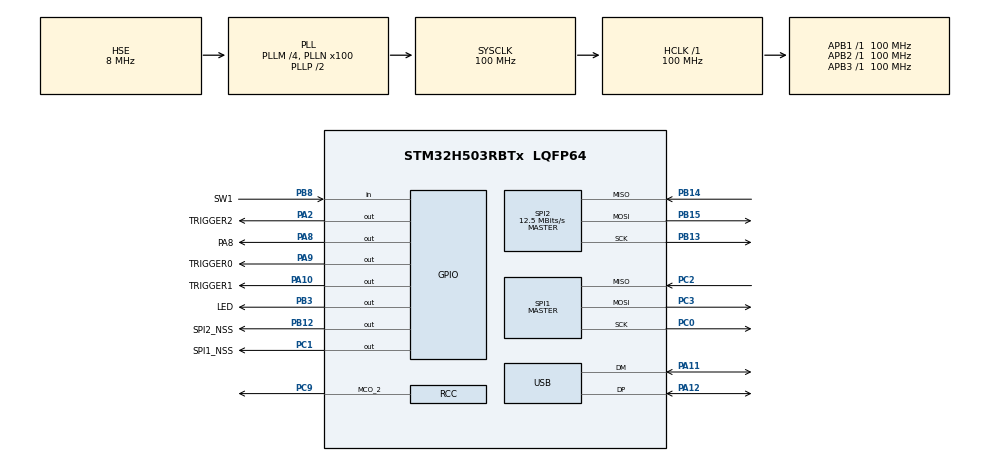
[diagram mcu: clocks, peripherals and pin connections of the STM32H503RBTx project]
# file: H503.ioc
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ADC1.Channel-1\#ChannelRegularConversion=ADC_CHANNEL_TEMPSENSOR
ADC1.ClockPrescaler=ADC_CLOCK_ASYNC_DIV8
ADC1.MonitoredBy-1\#ChannelRegularConversion=__NULL
ADC1.NbrOfConversionFlag=1
ADC1.OffsetNumber-1\#ChannelRegularConversion=ADC_OFFSET_NONE
ADC1.Rank-1\#ChannelRegularConversion=1
ADC1.SamplingTime-1\#ChannelRegularConversion=ADC_SAMPLETIME_247CYCLES_5
ADC1.master=1
BOOTPATH.BootPathName=LEGACY
BOOTPATH.UserSelectedBootPath=LEGACY
Mcu.Family=STM32H5
Mcu.Name=STM32H503RBTx
Mcu.Package=LQFP64
NVIC.PriorityGroup=NVIC_PRIORITYGROUP_4
NVIC.USB_DRD_FS_IRQn=true\:0\:0\:false\:false\:true\:true\:true\:true
PA10.GPIO_Label=TRIGGER1
PA10.Signal=GPIO_Output
PA11.Mode=Device
PA11.Signal=USB_DM
PA12.Mode=Device
PA12.Signal=USB_DP
PA13(JTMS/SWDIO).GPIO_Label=SWDIO
PA13(JTMS/SWDIO).Mode=Serial_Wire
PA13(JTMS/SWDIO).Signal=DEBUG_JTMS-SWDIO
PA14(JTCK/SWCLK).GPIO_Label=SWCLK
PA14(JTCK/SWCLK).Mode=Serial_Wire
PA14(JTCK/SWCLK).Signal=DEBUG_JTCK-SWCLK
PA2.GPIO_Label=TRIGGER2
PA2.Signal=GPIO_Output
PA8.GPIO_Label=PA8
PA8.Signal=GPIO_Output
PA9.GPIO_Label=TRIGGER0
PA9.Signal=GPIO_Output
PB12.GPIO_Label=SPI2_NSS
PB12.GPIO_Speed=GPIO_SPEED_FREQ_HIGH
PB12.PinState=GPIO_PIN_SET
PB12.Signal=GPIO_Output
PB13.Mode=Full_Duplex_Master
PB13.Signal=SPI2_SCK
PB14.Mode=Full_Duplex_Master
PB14.Signal=SPI2_MISO
PB15.Mode=Full_Duplex_Master
PB15.Signal=SPI2_MOSI
PB3(JTDO/TRACESWO).GPIO_Label=LED
PB3(JTDO/TRACESWO).Signal=GPIO_Output
PB8.GPIO_Label=SW1
PB8.Signal=GPIO_Input
PC0.Mode=Full_Duplex_Master
PC0.Signal=SPI1_SCK
PC1.GPIO_Label=SPI1_NSS
PC1.GPIO_Speed=GPIO_SPEED_FREQ_HIGH
PC1.PinState=GPIO_PIN_SET
PC1.Signal=GPIO_Output
PC2.Mode=Full_Duplex_Master
PC2.Signal=SPI1_MISO
PC3.Mode=Full_Duplex_Master
PC3.Signal=SPI1_MOSI
PC9.Mode=Clock-out-2
PC9.Signal=RCC_MCO_2
PH0-OSC_IN(PH0).Mode=HSE-External-Clock-Source
PH0-OSC_IN(PH0).Signal=RCC_OSC_IN
ProjectManager.HeapSize=0x400
ProjectManager.StackSize=0x200
ProjectManager.TargetToolchain=STM32CubeIDE
RCC.ADCCLockSelection=RCC_ADCDACCLKSOURCE_HSI
RCC.ADCFreq_Value=32000000
RCC.AHBFreq_Value=100000000
RCC.APB1Freq_Value=100000000
RCC.APB1TimFreq_Value=100000000
RCC.APB2Freq_Value=100000000
RCC.APB2TimFreq_Value=100000000
RCC.APB3Freq_Value=100000000
RCC.CSI_VALUE=4000000
RCC.CortexFreq_Value=100000000
RCC.DACLowPowerCLockSelection=RCC_DACLPCLKSOURCE_LSI
RCC.EPOD_VALUE=8000000
RCC.HCLKFreq_Value=100000000
RCC.HSE_VALUE=8000000
RCC.HSI48_VALUE=48000000
RCC.HSI_VALUE=64000000
RCC.LSE_VALUE=32768
RCC.LSIRC_VALUE=32000
RCC.PLL1Q=3
RCC.PLL2FRACN=0
RCC.PLL2M=8
RCC.PLL2N=250
RCC.PLL2P=10
RCC.PLL2Q=25
RCC.PLL2R=25
RCC.PLL2Source=RCC_PLL2_SOURCE_HSE
RCC.PLLFRACN=0
RCC.PLLM=4
RCC.PLLN=100
RCC.PLLSourceVirtual=RCC_PLL1_SOURCE_HSE
RCC.PWR_Regulator_Voltage_Scale=PWR_REGULATOR_VOLTAGE_SCALE0
RCC.RCC_MCO2Div=RCC_MCODIV_10
RCC.SPI2CLockSelection=RCC_SPI2CLKSOURCE_PLL2P
RCC.SYSCLKFreq_VALUE=100000000
RCC.SYSCLKSource=RCC_SYSCLKSOURCE_PLLCLK
RCC.USBFreq_Value=48000000
RCC.VCOOutputFreq_Value=200000000
SPI1.BaudRatePrescaler=SPI_BAUDRATEPRESCALER_4
SPI1.CLKPolarity=SPI_POLARITY_LOW
SPI1.CalculateBaudRate=16.666666 MBits/s
SPI1.DataSize=SPI_DATASIZE_8BIT
SPI1.Direction=SPI_DIRECTION_2LINES
SPI1.MasterKeepIOState=SPI_MASTER_KEEP_IO_STATE_ENABLE
SPI1.Mode=SPI_MODE_MASTER
SPI1.NSSPMode=SPI_NSS_PULSE_DISABLE
SPI1.VirtualType=VM_MASTER
SPI2.BaudRatePrescaler=SPI_BAUDRATEPRESCALER_2
SPI2.CalculateBaudRate=12.5 MBits/s
SPI2.DataSize=SPI_DATASIZE_8BIT
SPI2.Direction=SPI_DIRECTION_2LINES
SPI2.Mode=SPI_MODE_MASTER
SPI2.VirtualType=VM_MASTER
TIM2.Prescaler=99
USB.VirtualMode=Device_Only
VP_ADC1_TempSens_Input.Mode=IN-TempSens
VP_BOOTPATH_VS_BOOTPATH.Mode=BP_Activate
VP_CORTEX_M33_NS_VS_Hclk.Mode=Hclk_Mode
VP_ICACHE_VS_ICACHE.Mode=DefaultMode
VP_MEMORYMAP_VS_MEMORYMAP.Mode=CurAppReg
VP_PWR_VS_DBSignals.Mode=DisableDeadBatterySignals
VP_PWR_VS_LPOM.Mode=PowerOptimisation
VP_PWR_VS_SECSignals.Mode=Security/Privilege
VP_TIM2_VS_ClockSourceINT.Mode=Internal
board=custom

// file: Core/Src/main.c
/* USER CODE BEGIN Header */
/**
  ******************************************************************************
  * @file           : main.c
  * @brief          : Main program body
  ******************************************************************************
  * @attention
  *
  * Copyright (c) 2023 STMicroelectronics.
  * All rights reserved.
  *
  * This software is licensed under terms that can be found in the LICENSE file
  * in the root directory of this software component.
  * If no LICENSE file comes with this software, it is provided AS-IS.
  *
  ******************************************************************************
  */
/* USER CODE END Header */
#include "main.h"
#include "adc.h"
#include "icache.h"
#include "memorymap.h"
#include "spi.h"
#include "tim.h"
#include "usb.h"
#include "gpio.h"

/* USER CODE BEGIN Includes */
#include "usb_device.h"
#include "usbd_cdc_if.h"
/* USER CODE END Includes */

/* USER CODE BEGIN PV */

unsigned CPU_CLOCK_FREQUENCY = 100;

/* USER CODE END PV */

void SystemClock_Config(void);

int main(void)
{

  /* MCU Configuration--------------------------------------------------------*/

  /* Reset of all peripherals, Initializes the Flash interface and the Systick. */
  HAL_Init();

  /* Configure the system clock */
  SystemClock_Config();

  /* Initialize all configured peripherals */
  MX_GPIO_Init();
  MX_USB_PCD_Init();
  MX_ICACHE_Init();
  MX_ADC1_Init();
  MX_TIM2_Init();
  MX_SPI2_Init();
  MX_SPI1_Init();
  /* USER CODE BEGIN 2 */

  MX_USB_Device_Init();
  vcp_init();

  /* Perform ADC calibration */
  if (HAL_ADCEx_Calibration_Start(&hadc1, ADC_SINGLE_ENDED) != HAL_OK)
    {
    /* Calibration Error */
    Error_Handler();
    }

  /* start TIM2, whihc is used for the 1 usec clock */
  HAL_TIM_Base_Start(&htim2);

  extern void background();
  background();

  /* USER CODE END 2 */

  /* Infinite loop */
  while (1)
  {

  }
}

void SystemClock_Config(void)
{
  RCC_OscInitTypeDef RCC_OscInitStruct = {0};
  RCC_ClkInitTypeDef RCC_ClkInitStruct = {0};

  /** Configure the main internal regulator output voltage
  */
  __HAL_PWR_VOLTAGESCALING_CONFIG(PWR_REGULATOR_VOLTAGE_SCALE0);

  while(!__HAL_PWR_GET_FLAG(PWR_FLAG_VOSRDY)) {}

  /** Initializes the RCC Oscillators according to the specified parameters
  * in the RCC_OscInitTypeDef structure.
  */
  RCC_OscInitStruct.OscillatorType = RCC_OSCILLATORTYPE_HSI48|RCC_OSCILLATORTYPE_HSI
                              |RCC_OSCILLATORTYPE_HSE;
  RCC_OscInitStruct.HSEState = RCC_HSE_BYPASS;
  RCC_OscInitStruct.HSIState = RCC_HSI_ON;
  RCC_OscInitStruct.HSIDiv = RCC_HSI_DIV2;
  RCC_OscInitStruct.HSICalibrationValue = RCC_HSICALIBRATION_DEFAULT;
  RCC_OscInitStruct.HSI48State = RCC_HSI48_ON;
  RCC_OscInitStruct.PLL.PLLState = RCC_PLL_ON;
  RCC_OscInitStruct.PLL.PLLSource = RCC_PLL1_SOURCE_HSE;
  RCC_OscInitStruct.PLL.PLLM = 4;
  RCC_OscInitStruct.PLL.PLLN = 100;
  RCC_OscInitStruct.PLL.PLLP = 2;
  RCC_OscInitStruct.PLL.PLLQ = 3;
  RCC_OscInitStruct.PLL.PLLR = 2;
  RCC_OscInitStruct.PLL.PLLRGE = RCC_PLL1_VCIRANGE_1;
  RCC_OscInitStruct.PLL.PLLVCOSEL = RCC_PLL1_VCORANGE_WIDE;
  RCC_OscInitStruct.PLL.PLLFRACN = 0;
  if (HAL_RCC_OscConfig(&RCC_OscInitStruct) != HAL_OK)
  {
    Error_Handler();
  }

  /** Initializes the CPU, AHB and APB buses clocks
  */
  RCC_ClkInitStruct.ClockType = RCC_CLOCKTYPE_HCLK|RCC_CLOCKTYPE_SYSCLK
                              |RCC_CLOCKTYPE_PCLK1|RCC_CLOCKTYPE_PCLK2
                              |RCC_CLOCKTYPE_PCLK3;
  RCC_ClkInitStruct.SYSCLKSource = RCC_SYSCLKSOURCE_PLLCLK;
  RCC_ClkInitStruct.AHBCLKDivider = RCC_SYSCLK_DIV1;
  RCC_ClkInitStruct.APB1CLKDivider = RCC_HCLK_DIV1;
  RCC_ClkInitStruct.APB2CLKDivider = RCC_HCLK_DIV1;
  RCC_ClkInitStruct.APB3CLKDivider = RCC_HCLK_DIV1;

  if (HAL_RCC_ClockConfig(&RCC_ClkInitStruct, FLASH_LATENCY_2) != HAL_OK)
  {
    Error_Handler();
  }
  HAL_RCC_MCOConfig(RCC_MCO2, RCC_MCO2SOURCE_SYSCLK, RCC_MCODIV_10);

  /** Configure the programming delay
  */
  __HAL_FLASH_SET_PROGRAM_DELAY(FLASH_PROGRAMMING_DELAY_1);
}

/* USER CODE BEGIN 4 */

void SystemClock_PLL_Config(unsigned freq)
{
  unsigned PLLN;
  unsigned PLLP;

  if(freq > 128)
  {
    PLLN = freq;
    PLLP = 2;
  }
  else
  {
    PLLN = freq*2;
    PLLP = 4;
  }

  RCC_OscInitTypeDef RCC_OscInitStruct = {0};
  RCC_ClkInitTypeDef RCC_ClkInitStruct = {0};

  /** Configure the main internal regulator output voltage
  */
  __HAL_PWR_VOLTAGESCALING_CONFIG(PWR_REGULATOR_VOLTAGE_SCALE0);

  while(!__HAL_PWR_GET_FLAG(PWR_FLAG_VOSRDY)) {}

  /** Initializes the RCC Oscillators according to the specified parameters
  * in the RCC_OscInitTypeDef structure.
  */
  RCC_OscInitStruct.OscillatorType = RCC_OSCILLATORTYPE_HSE;
  RCC_OscInitStruct.HSEState = RCC_HSE_BYPASS;
  RCC_OscInitStruct.PLL.PLLState = RCC_PLL_ON;
  RCC_OscInitStruct.PLL.PLLSource = RCC_PLL1_SOURCE_HSE;
  RCC_OscInitStruct.PLL.PLLM = 4;
  RCC_OscInitStruct.PLL.PLLN = PLLN;
  RCC_OscInitStruct.PLL.PLLP = PLLP;
  RCC_OscInitStruct.PLL.PLLQ = 3;
  RCC_OscInitStruct.PLL.PLLR = 2;
  RCC_OscInitStruct.PLL.PLLRGE = RCC_PLL1_VCIRANGE_1;
  RCC_OscInitStruct.PLL.PLLVCOSEL = RCC_PLL1_VCORANGE_WIDE;
  RCC_OscInitStruct.PLL.PLLFRACN = 0;
  if (HAL_RCC_OscConfig(&RCC_OscInitStruct) != HAL_OK)
  {
    Error_Handler();
  }

  /** Initializes the CPU, AHB and APB buses clocks
  */
  RCC_ClkInitStruct.ClockType = RCC_CLOCKTYPE_HCLK|RCC_CLOCKTYPE_SYSCLK
                              |RCC_CLOCKTYPE_PCLK1|RCC_CLOCKTYPE_PCLK2
                              |RCC_CLOCKTYPE_PCLK3;
  RCC_ClkInitStruct.SYSCLKSource = RCC_SYSCLKSOURCE_PLLCLK;
  RCC_ClkInitStruct.AHBCLKDivider = RCC_SYSCLK_DIV1;
  RCC_ClkInitStruct.APB1CLKDivider = RCC_HCLK_DIV1;
  RCC_ClkInitStruct.APB2CLKDivider = RCC_HCLK_DIV1;
  RCC_ClkInitStruct.APB3CLKDivider = RCC_HCLK_DIV1;

  if (HAL_RCC_ClockConfig(&RCC_ClkInitStruct, freq/50) != HAL_OK)
  {
    Error_Handler();
  }

  CPU_CLOCK_FREQUENCY = freq;
}

void SystemClock_HSI_Config(void)
{
  RCC_OscInitTypeDef RCC_OscInitStruct = {0};
  RCC_ClkInitTypeDef RCC_ClkInitStruct = {0};

  /** Configure the main internal regulator output voltage
  */
  __HAL_PWR_VOLTAGESCALING_CONFIG(PWR_REGULATOR_VOLTAGE_SCALE0);

  while(!__HAL_PWR_GET_FLAG(PWR_FLAG_VOSRDY)) {}

  /** Initializes the RCC Oscillators according to the specified parameters
  * in the RCC_OscInitTypeDef structure.
  */
  RCC_OscInitStruct.OscillatorType = RCC_OSCILLATORTYPE_HSI;
  RCC_OscInitStruct.HSIState = RCC_HSI_ON;
  RCC_OscInitStruct.HSIDiv = RCC_HSI_DIV2;
  RCC_OscInitStruct.HSICalibrationValue = RCC_HSICALIBRATION_DEFAULT;
  RCC_OscInitStruct.PLL.PLLState = RCC_PLL_NONE;
  if (HAL_RCC_OscConfig(&RCC_OscInitStruct) != HAL_OK)
  {
    Error_Handler();
  }

  /** Initializes the CPU, AHB and APB buses clocks
  */
  RCC_ClkInitStruct.ClockType = RCC_CLOCKTYPE_HCLK|RCC_CLOCKTYPE_SYSCLK
                              |RCC_CLOCKTYPE_PCLK1|RCC_CLOCKTYPE_PCLK2
                              |RCC_CLOCKTYPE_PCLK3;
  RCC_ClkInitStruct.SYSCLKSource = RCC_SYSCLKSOURCE_HSI;
  RCC_ClkInitStruct.AHBCLKDivider = RCC_SYSCLK_DIV1;
  RCC_ClkInitStruct.APB1CLKDivider = RCC_HCLK_DIV1;
  RCC_ClkInitStruct.APB2CLKDivider = RCC_HCLK_DIV1;
  RCC_ClkInitStruct.APB3CLKDivider = RCC_HCLK_DIV1;

  if (HAL_RCC_ClockConfig(&RCC_ClkInitStruct, FLASH_LATENCY_0) != HAL_OK)
  {
    Error_Handler();
  }
}

/* USER CODE END 4 */

void Error_Handler(void)
{
  __disable_irq();
  while (1)
  {
  }
}
